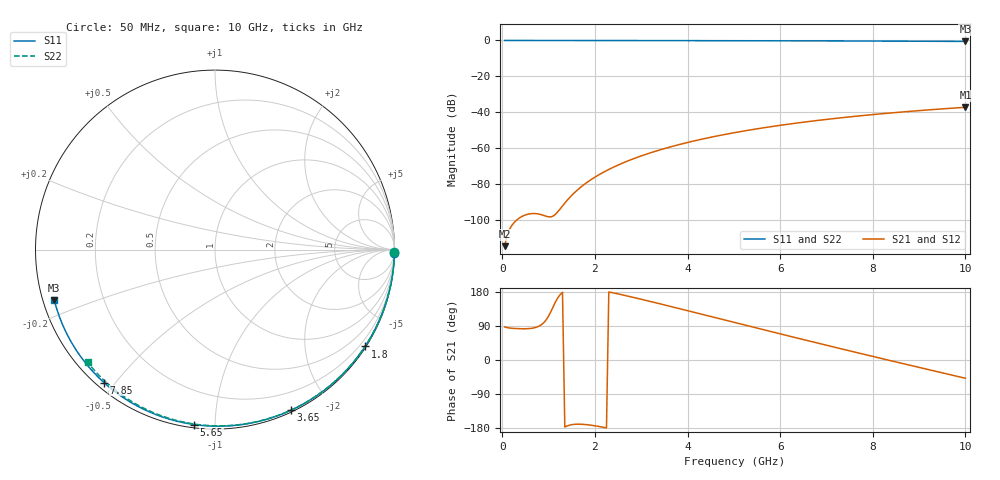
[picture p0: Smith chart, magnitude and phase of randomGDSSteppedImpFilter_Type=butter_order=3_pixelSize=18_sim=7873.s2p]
! freq	dB(S11)	phase(S11)	dB(S12)	phase(S12)
!  dB(S21)	phase(S21)	dB(S22)	phase(S22)
!S-par simulation data
#  GHz  S  DB  R 50
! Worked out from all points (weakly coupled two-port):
!   200 points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, 50 MHz to 10 GHz, reference 50 ohm
!   highest |S21| = -37.14 dB at 10 GHz (marker M1); lowest = -114.3 dB at 50 MHz (marker M2)
!   lowest |S11| = -0.5 dB at 10 GHz (marker M3), VSWR 31.68, Z = 1.62 - j7.71 ohm
!   |S11| at or under -10 dB: nowhere
!   |S22| runs from -0.5 to 0.0 dB; largest |S21 - S12| = 0
!   S11 on the Smith chart (normalised r, x): 50 MHz: open; 1.8 GHz: 0.03, -3.40; 3.65 GHz: 0.02, -1.58; 5.65 GHz: 0.02, -0.89; 7.85 GHz: 0.02, -0.47; 10 GHz: 0.03, -0.15
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0.05  -0.00 -0.9  -114.30 87.4  -114.30 87.4  -0.00 -0.8
0.45  -0.01 -8.3  -97.46 82.4  -97.46 82.4  -0.01 -7.2
0.9  -0.02 -16.6  -97.27 99.0  -97.27 99.0  -0.02 -14.3
1.3  -0.03 -23.8  -91.93 178.7  -91.93 178.7  -0.03 -20.6
1.75  -0.04 -31.9  -80.37 -169.8  -80.37 -169.8  -0.04 -27.6
1.8  -0.04 -32.8  -79.40 -170.4  -79.40 -170.4  -0.04 -28.4
2.1  -0.05 -38.1  -74.42 -175.7  -74.42 -175.7  -0.04 -33.0
2.3  -0.05 -41.7  -71.67 179.6  -71.67 179.6  -0.05 -36.1
2.5  -0.06 -45.2  -69.23 174.4  -69.23 174.4  -0.05 -39.1
2.9  -0.07 -52.1  -65.07 163.2  -65.07 163.2  -0.06 -45.1
3.4  -0.08 -60.6  -60.83 148.4  -60.83 148.4  -0.07 -52.5
3.65  -0.09 -64.8  -59.00 140.8  -59.00 140.8  -0.08 -56.2
4.3  -0.11 -75.5  -54.90 121.0  -54.90 121.0  -0.09 -65.5
5.05  -0.13 -87.5  -51.06 98.0  -51.06 98.0  -0.12 -75.9
5.65  -0.16 -96.8  -48.49 79.6  -48.49 79.6  -0.14 -84.1
6.15  -0.19 -104.5  -46.61 64.4  -46.61 64.4  -0.16 -90.7
6.7  -0.22 -112.8  -44.78 47.9  -44.78 47.9  -0.19 -97.8
7.25  -0.26 -121.0  -43.14 31.5  -43.14 31.5  -0.22 -104.8
7.85  -0.31 -129.9  -41.55 13.8  -41.55 13.8  -0.26 -112.3
8.35  -0.35 -137.3  -40.36 -0.8  -40.36 -0.8  -0.30 -118.5
9.2  -0.45 -150.1  -38.58 -25.3  -38.58 -25.3  -0.38 -128.8
10  -0.55 -162.4  -37.14 -48.1  -37.14 -48.1  -0.47 -138.4
